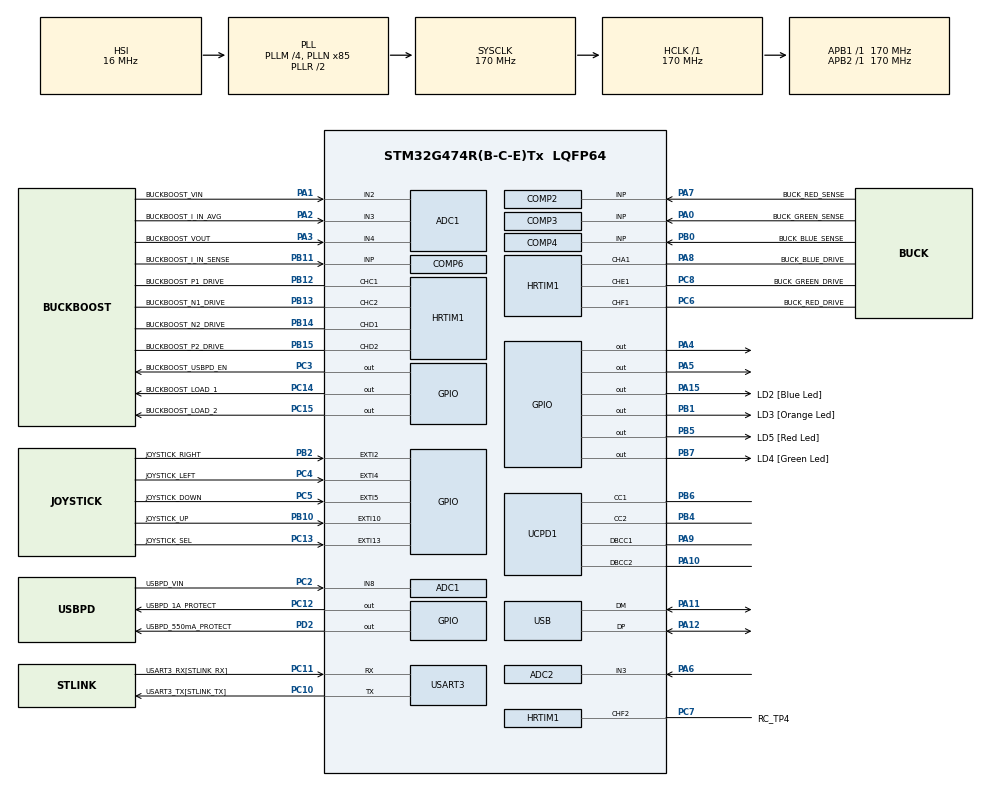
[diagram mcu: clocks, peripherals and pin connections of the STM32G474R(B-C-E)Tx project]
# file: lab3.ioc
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ADC1.Channel-0\#ChannelRegularConversion=ADC_CHANNEL_8
ADC1.NbrOfConversionFlag=1
ADC1.OffsetNumber-0\#ChannelRegularConversion=ADC_OFFSET_NONE
ADC1.Rank-0\#ChannelRegularConversion=1
ADC1.SamplingTime-0\#ChannelRegularConversion=ADC_SAMPLETIME_2CYCLES_5
ADC1.master=1
ADC2.Channel-0\#ChannelRegularConversion=ADC_CHANNEL_3
ADC2.NbrOfConversionFlag=1
ADC2.OffsetNumber-0\#ChannelRegularConversion=ADC_OFFSET_NONE
ADC2.Rank-0\#ChannelRegularConversion=1
ADC2.SamplingTime-0\#ChannelRegularConversion=ADC_SAMPLETIME_2CYCLES_5
DAC3.DAC_Channel-DAC_OUT2_Int=DAC_CHANNEL_2
Mcu.Family=STM32G4
Mcu.Name=STM32G474R(B-C-E)Tx
Mcu.Package=LQFP64
NVIC.ADC1_2_IRQn=true\:0\:0\:false\:false\:true\:true\:true\:true
NVIC.EXTI15_10_IRQn=true\:0\:0\:false\:false\:true\:true\:true\:true
NVIC.EXTI2_IRQn=true\:0\:0\:false\:false\:true\:true\:true\:true
NVIC.EXTI4_IRQn=true\:0\:0\:false\:false\:true\:true\:true\:true
NVIC.EXTI9_5_IRQn=true\:0\:0\:false\:false\:true\:true\:true\:true
NVIC.HRTIM1_Master_IRQn=true\:0\:0\:false\:false\:true\:true\:true\:true
NVIC.HRTIM1_TIMF_IRQn=true\:0\:0\:false\:false\:true\:true\:true\:true
NVIC.PriorityGroup=NVIC_PRIORITYGROUP_4
NVIC.USART3_IRQn=true\:0\:0\:false\:false\:true\:true\:true\:true
NVIC.USB_HP_IRQn=true\:0\:0\:false\:false\:true\:true\:true\:true
PA0.GPIO_Label=BUCK_GREEN_SENSE
PA0.Mode=INP
PA0.Signal=COMP3_INP
PA1.GPIO_Label=BUCKBOOST_VIN
PA1.Mode=IN2-Single-Ended
PA1.Signal=ADC1_IN2
PA10.Mode=EnableDeadBattery
PA10.Signal=UCPD1_DBCC2
PA11.Mode=Device
PA11.Signal=USB_DM
PA12.Mode=Device
PA12.Signal=USB_DP
PA13.Mode=Serial_Wire
PA13.Signal=SYS_JTMS-SWDIO
PA14.Mode=Serial_Wire
PA14.Signal=SYS_JTCK-SWCLK
PA15.GPIO_Label=LD2 [Blue Led]
PA15.Signal=GPIO_Output
PA2.GPIO_Label=BUCKBOOST_I_IN_AVG
PA2.Mode=IN3-Single-Ended
PA2.Signal=ADC1_IN3
PA3.GPIO_Label=BUCKBOOST_VOUT
PA3.Mode=IN4-Single-Ended
PA3.Signal=ADC1_IN4
PA4.Signal=GPIO_Output
PA5.Signal=GPIO_Output
PA6.Mode=IN3-Single-Ended
PA6.Signal=ADC2_IN3
PA7.GPIO_Label=BUCK_RED_SENSE
PA7.Mode=INP
PA7.Signal=COMP2_INP
PA8.GPIO_Label=BUCK_BLUE_DRIVE
PA8.Mode=Output_TA1
PA8.Signal=HRTIM1_CHA1
PA9.Mode=EnableDeadBattery
PA9.Signal=UCPD1_DBCC1
PB0.GPIO_Label=BUCK_BLUE_SENSE
PB0.Mode=INP
PB0.Signal=COMP4_INP
PB1.GPIO_Label=LD3 [Orange Led]
PB1.Signal=GPIO_Output
PB10.GPIO_Label=JOYSTICK_UP
PB10.GPIO_PuPd=GPIO_PULLUP
PB10.Signal=GPXTI10
PB11.GPIO_Label=BUCKBOOST_I_IN_SENSE
PB11.Mode=INP
PB11.Signal=COMP6_INP
PB12.GPIO_Label=BUCKBOOST_P1_DRIVE
PB12.Mode=Output_TC1TC2
PB12.Signal=HRTIM1_CHC1
PB13.GPIO_Label=BUCKBOOST_N1_DRIVE
PB13.Mode=Output_TC1TC2
PB13.Signal=HRTIM1_CHC2
PB14.GPIO_Label=BUCKBOOST_N2_DRIVE
PB14.Mode=Output_TD1TD2
PB14.Signal=HRTIM1_CHD1
PB15.GPIO_Label=BUCKBOOST_P2_DRIVE
PB15.Mode=Output_TD1TD2
PB15.Signal=HRTIM1_CHD2
PB2.GPIO_Label=JOYSTICK_RIGHT
PB2.GPIO_PuPd=GPIO_PULLUP
PB2.Signal=GPXTI2
PB3.Signal=SYS_JTDO-SWO
PB4.Mode=Sink_AllSignals
PB4.Signal=UCPD1_CC2
PB5.GPIO_Label=LD5 [Red Led]
PB5.Signal=GPIO_Output
PB6.Mode=Sink_AllSignals
PB6.Signal=UCPD1_CC1
PB7.GPIO_Label=LD4 [Green Led]
PB7.Signal=GPIO_Output
PC10.GPIO_Label=USART3_TX[STLINK_TX]
PC10.GPIO_Speed=GPIO_SPEED_FREQ_MEDIUM
PC10.Mode=Asynchronous
PC10.Signal=USART3_TX
PC11.GPIO_Label=USART3_RX[STLINK_RX]
PC11.GPIO_Speed=GPIO_SPEED_FREQ_MEDIUM
PC11.Mode=Asynchronous
PC11.Signal=USART3_RX
PC12.GPIO_Label=USBPD_1A_PROTECT
PC12.Signal=GPIO_Output
PC13.GPIO_Label=JOYSTICK_SEL
PC13.GPIO_PuPd=GPIO_PULLUP
PC13.Signal=GPXTI13
PC14-OSC32_IN.GPIO_Label=BUCKBOOST_LOAD_1
PC14-OSC32_IN.Signal=GPIO_Output
PC15-OSC32_OUT.GPIO_Label=BUCKBOOST_LOAD_2
PC15-OSC32_OUT.Signal=GPIO_Output
PC2.GPIO_Label=USBPD_VIN
PC2.Mode=IN8-Single-Ended
PC2.Signal=ADC1_IN8
PC3.GPIO_Label=BUCKBOOST_USBPD_EN
PC3.Signal=GPIO_Output
PC4.GPIO_Label=JOYSTICK_LEFT
PC4.GPIO_PuPd=GPIO_PULLUP
PC4.Signal=GPXTI4
PC5.GPIO_Label=JOYSTICK_DOWN
PC5.GPIO_PuPd=GPIO_PULLUP
PC5.Signal=GPXTI5
PC6.GPIO_Label=BUCK_RED_DRIVE
PC6.Mode=Output_TF1TF2
PC6.Signal=HRTIM1_CHF1
PC7.GPIO_Label=RC_TP4
PC7.Mode=Output_TF1TF2
PC7.Signal=HRTIM1_CHF2
PC8.GPIO_Label=BUCK_GREEN_DRIVE
PC8.Mode=Output_TE1
PC8.Signal=HRTIM1_CHE1
PD2.GPIO_Label=USBPD_550mA_PROTECT
PD2.Signal=GPIO_Output
ProjectManager.HeapSize=0x200
ProjectManager.StackSize=0x400
ProjectManager.TargetToolchain=STM32CubeIDE
RCC.ADC12Freq_Value=170000000
RCC.ADC345Freq_Value=170000000
RCC.AHBFreq_Value=170000000
RCC.APB1Freq_Value=170000000
RCC.APB1TimFreq_Value=170000000
RCC.APB2Freq_Value=170000000
RCC.APB2TimFreq_Value=170000000
RCC.CK48CLockSelection=RCC_USBCLKSOURCE_HSI48
RCC.CortexFreq_Value=170000000
RCC.EXTERNAL_CLOCK_VALUE=12288000
RCC.HCLKFreq_Value=170000000
RCC.HSE_VALUE=8000000
RCC.HSI48_VALUE=48000000
RCC.HSI_VALUE=16000000
RCC.LSE_VALUE=32768
RCC.PLLM=RCC_PLLM_DIV4
RCC.PLLN=85
RCC.PLLP=RCC_PLLP_DIV8
RCC.PLLQ=RCC_PLLQ_DIV8
RCC.SYSCLKFreq_VALUE=170000000
RCC.SYSCLKSource=RCC_SYSCLKSOURCE_PLLCLK
RCC.USBFreq_Value=48000000
RCC.VCOOutputFreq_Value=340000000
USART3.ClockPrescaler=PRESCALER_DIV4
USART3.VirtualMode-Asynchronous=VM_ASYNC
USART3.WordLength=WORDLENGTH_8B
VP_COMP2_VS_DAC3OUT2.Mode=INM_DAC3OUT2
VP_COMP3_VS_DAC3OUT1.Mode=INM_DAC3OUT1
VP_COMP4_VS_DAC1OUT1.Mode=INM_DAC1OUT1
VP_COMP6_VS_DAC2OUT1.Mode=INM_DAC2OUT1
VP_DAC1_VS_DACI1.Mode=DAC_OUT1_Int
VP_DAC2_VS_DACI1.Mode=DAC_OUT1_Int
VP_DAC3_VS_DACI1.Mode=DAC_OUT1_Int
VP_DAC3_VS_DACI2.Mode=DAC_OUT2_Int
VP_SYS_VS_DBSignals.Mode=DisableDeadBatterySignals
board=B-G474E-DPOW1

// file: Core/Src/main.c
/* USER CODE BEGIN Header */
/**
  ******************************************************************************
  * @file           : main.c
  * @brief          : Main program body
  ******************************************************************************
  * @attention
  *
  * Copyright (c) 2025 STMicroelectronics.
  * All rights reserved.
  *
  * This software is licensed under terms that can be found in the LICENSE file
  * in the root directory of this software component.
  * If no LICENSE file comes with this software, it is provided AS-IS.
  *
  ******************************************************************************
  */
/* USER CODE END Header */
#include "main.h"

/* USER CODE BEGIN PTD */
	char MoveRight=0;
	char MoveLeft=0;
/* USER CODE END PTD */

ADC_HandleTypeDef hadc1;
ADC_HandleTypeDef hadc2;

COMP_HandleTypeDef hcomp2;
COMP_HandleTypeDef hcomp3;
COMP_HandleTypeDef hcomp4;
COMP_HandleTypeDef hcomp6;

DAC_HandleTypeDef hdac1;
DAC_HandleTypeDef hdac2;
DAC_HandleTypeDef hdac3;

HRTIM_HandleTypeDef hhrtim1;

UART_HandleTypeDef huart3;

PCD_HandleTypeDef hpcd_USB_FS;

/* USER CODE BEGIN PV */
int SetPoint=2500;
int dh=50;
/* USER CODE END PV */

void SystemClock_Config(void);
static void MX_GPIO_Init(void);
static void MX_ADC1_Init(void);
static void MX_COMP2_Init(void);
static void MX_COMP3_Init(void);
static void MX_COMP4_Init(void);
static void MX_COMP6_Init(void);
static void MX_DAC1_Init(void);
static void MX_DAC2_Init(void);
static void MX_DAC3_Init(void);
static void MX_HRTIM1_Init(void);
static void MX_UCPD1_Init(void);
static void MX_USART3_UART_Init(void);
static void MX_USB_PCD_Init(void);
static void MX_ADC2_Init(void);

int main(void)
{

  /* MCU Configuration--------------------------------------------------------*/

  /* Reset of all peripherals, Initializes the Flash interface and the Systick. */
  HAL_Init();

  /* Configure the system clock */
  SystemClock_Config();

  /* Initialize all configured peripherals */
  MX_GPIO_Init();
  MX_ADC1_Init();
  MX_COMP2_Init();
  MX_COMP3_Init();
  MX_COMP4_Init();
  MX_COMP6_Init();
  MX_DAC1_Init();
  MX_DAC2_Init();
  MX_DAC3_Init();
  MX_HRTIM1_Init();
  MX_UCPD1_Init();
  MX_USART3_UART_Init();
  MX_USB_PCD_Init();
  MX_ADC2_Init();

  /* Infinite loop */
  /* USER CODE BEGIN WHILE */
   CenterGlass();
  while (1)
  {
	  char L=HAL_GPIO_ReadPin(GPIOC, GPIO_PIN_4);
	  char R=HAL_GPIO_ReadPin(GPIOB, GPIO_PIN_2);

	  	 	  if( L == 0)
	  	 	  {

	  	 		  HAL_GPIO_WritePin(GPIOA,  GPIO_PIN_4,1);
	  	 		HAL_GPIO_WritePin(GPIOA,  GPIO_PIN_5,0);

	  	 	  }
	  	 	  else if (R == 0)
	  	 	  {
	  	 		 HAL_GPIO_WritePin(GPIOA,  GPIO_PIN_4,0);
	  	 		HAL_GPIO_WritePin(GPIOA,  GPIO_PIN_5,1);

	  	 	  }
	  	 	  else
	  	 	  {
	  	 		HAL_GPIO_WritePin(GPIOA,  GPIO_PIN_4,0);
	  	 		HAL_GPIO_WritePin(GPIOA,  GPIO_PIN_5,0);

	  	 	  }

    /* USER CODE END WHILE */

  }
}

void SystemClock_Config(void)
{
  RCC_OscInitTypeDef RCC_OscInitStruct = {0};
  RCC_ClkInitTypeDef RCC_ClkInitStruct = {0};

  /** Configure the main internal regulator output voltage
  */
  HAL_PWREx_ControlVoltageScaling(PWR_REGULATOR_VOLTAGE_SCALE1_BOOST);

  /** Initializes the RCC Oscillators according to the specified parameters
  * in the RCC_OscInitTypeDef structure.
  */
  RCC_OscInitStruct.OscillatorType = RCC_OSCILLATORTYPE_HSI|RCC_OSCILLATORTYPE_HSI48;
  RCC_OscInitStruct.HSIState = RCC_HSI_ON;
  RCC_OscInitStruct.HSICalibrationValue = RCC_HSICALIBRATION_DEFAULT;
  RCC_OscInitStruct.HSI48State = RCC_HSI48_ON;
  RCC_OscInitStruct.PLL.PLLState = RCC_PLL_ON;
  RCC_OscInitStruct.PLL.PLLSource = RCC_PLLSOURCE_HSI;
  RCC_OscInitStruct.PLL.PLLM = RCC_PLLM_DIV4;
  RCC_OscInitStruct.PLL.PLLN = 85;
  RCC_OscInitStruct.PLL.PLLP = RCC_PLLP_DIV8;
  RCC_OscInitStruct.PLL.PLLQ = RCC_PLLQ_DIV8;
  RCC_OscInitStruct.PLL.PLLR = RCC_PLLR_DIV2;
  if (HAL_RCC_OscConfig(&RCC_OscInitStruct) != HAL_OK)
  {
    Error_Handler();
  }

  /** Initializes the CPU, AHB and APB buses clocks
  */
  RCC_ClkInitStruct.ClockType = RCC_CLOCKTYPE_HCLK|RCC_CLOCKTYPE_SYSCLK
                              |RCC_CLOCKTYPE_PCLK1|RCC_CLOCKTYPE_PCLK2;
  RCC_ClkInitStruct.SYSCLKSource = RCC_SYSCLKSOURCE_PLLCLK;
  RCC_ClkInitStruct.AHBCLKDivider = RCC_SYSCLK_DIV1;
  RCC_ClkInitStruct.APB1CLKDivider = RCC_HCLK_DIV1;
  RCC_ClkInitStruct.APB2CLKDivider = RCC_HCLK_DIV1;

  if (HAL_RCC_ClockConfig(&RCC_ClkInitStruct, FLASH_LATENCY_4) != HAL_OK)
  {
    Error_Handler();
  }
}

static void MX_ADC1_Init(void)
{

  ADC_MultiModeTypeDef multimode = {0};
  ADC_ChannelConfTypeDef sConfig = {0};

  /** Common config
  */
  hadc1.Instance = ADC1;
  hadc1.Init.ClockPrescaler = ADC_CLOCK_SYNC_PCLK_DIV4;
  hadc1.Init.Resolution = ADC_RESOLUTION_12B;
  hadc1.Init.DataAlign = ADC_DATAALIGN_RIGHT;
  hadc1.Init.GainCompensation = 0;
  hadc1.Init.ScanConvMode = ADC_SCAN_DISABLE;
  hadc1.Init.EOCSelection = ADC_EOC_SINGLE_CONV;
  hadc1.Init.LowPowerAutoWait = DISABLE;
  hadc1.Init.ContinuousConvMode = DISABLE;
  hadc1.Init.NbrOfConversion = 1;
  hadc1.Init.DiscontinuousConvMode = DISABLE;
  hadc1.Init.ExternalTrigConv = ADC_SOFTWARE_START;
  hadc1.Init.ExternalTrigConvEdge = ADC_EXTERNALTRIGCONVEDGE_NONE;
  hadc1.Init.DMAContinuousRequests = DISABLE;
  hadc1.Init.Overrun = ADC_OVR_DATA_PRESERVED;
  hadc1.Init.OversamplingMode = DISABLE;
  if (HAL_ADC_Init(&hadc1) != HAL_OK)
  {
    Error_Handler();
  }

  /** Configure the ADC multi-mode
  */
  multimode.Mode = ADC_MODE_INDEPENDENT;
  if (HAL_ADCEx_MultiModeConfigChannel(&hadc1, &multimode) != HAL_OK)
  {
    Error_Handler();
  }

  /** Configure Regular Channel
  */
  sConfig.Channel = ADC_CHANNEL_8;
  sConfig.Rank = ADC_REGULAR_RANK_1;
  sConfig.SamplingTime = ADC_SAMPLETIME_2CYCLES_5;
  sConfig.SingleDiff = ADC_SINGLE_ENDED;
  sConfig.OffsetNumber = ADC_OFFSET_NONE;
  sConfig.Offset = 0;
  if (HAL_ADC_ConfigChannel(&hadc1, &sConfig) != HAL_OK)
  {
    Error_Handler();
  }

}

static void MX_ADC2_Init(void)
{

  ADC_ChannelConfTypeDef sConfig = {0};

  /** Common config
  */
  hadc2.Instance = ADC2;
  hadc2.Init.ClockPrescaler = ADC_CLOCK_SYNC_PCLK_DIV4;
  hadc2.Init.Resolution = ADC_RESOLUTION_12B;
  hadc2.Init.DataAlign = ADC_DATAALIGN_RIGHT;
  hadc2.Init.GainCompensation = 0;
  hadc2.Init.ScanConvMode = ADC_SCAN_DISABLE;
  hadc2.Init.EOCSelection = ADC_EOC_SINGLE_CONV;
  hadc2.Init.LowPowerAutoWait = DISABLE;
  hadc2.Init.ContinuousConvMode = DISABLE;
  hadc2.Init.NbrOfConversion = 1;
  hadc2.Init.DiscontinuousConvMode = DISABLE;
  hadc2.Init.ExternalTrigConv = ADC_SOFTWARE_START;
  hadc2.Init.ExternalTrigConvEdge = ADC_EXTERNALTRIGCONVEDGE_NONE;
  hadc2.Init.DMAContinuousRequests = DISABLE;
  hadc2.Init.Overrun = ADC_OVR_DATA_PRESERVED;
  hadc2.Init.OversamplingMode = DISABLE;
  if (HAL_ADC_Init(&hadc2) != HAL_OK)
  {
    Error_Handler();
  }

  /** Configure Regular Channel
  */
  sConfig.Channel = ADC_CHANNEL_3;
  sConfig.Rank = ADC_REGULAR_RANK_1;
  sConfig.SamplingTime = ADC_SAMPLETIME_2CYCLES_5;
  sConfig.SingleDiff = ADC_SINGLE_ENDED;
  sConfig.OffsetNumber = ADC_OFFSET_NONE;
  sConfig.Offset = 0;
  if (HAL_ADC_ConfigChannel(&hadc2, &sConfig) != HAL_OK)
  {
    Error_Handler();
  }

}

static void MX_COMP2_Init(void)
{

  hcomp2.Instance = COMP2;
  hcomp2.Init.InputPlus = COMP_INPUT_PLUS_IO1;
  hcomp2.Init.InputMinus = COMP_INPUT_MINUS_DAC3_CH2;
  hcomp2.Init.OutputPol = COMP_OUTPUTPOL_NONINVERTED;
  hcomp2.Init.Hysteresis = COMP_HYSTERESIS_NONE;
  hcomp2.Init.BlankingSrce = COMP_BLANKINGSRC_NONE;
  hcomp2.Init.TriggerMode = COMP_TRIGGERMODE_NONE;
  if (HAL_COMP_Init(&hcomp2) != HAL_OK)
  {
    Error_Handler();
  }

}

static void MX_COMP3_Init(void)
{

  hcomp3.Instance = COMP3;
  hcomp3.Init.InputPlus = COMP_INPUT_PLUS_IO1;
  hcomp3.Init.InputMinus = COMP_INPUT_MINUS_DAC3_CH1;
  hcomp3.Init.OutputPol = COMP_OUTPUTPOL_NONINVERTED;
  hcomp3.Init.Hysteresis = COMP_HYSTERESIS_NONE;
  hcomp3.Init.BlankingSrce = COMP_BLANKINGSRC_NONE;
  hcomp3.Init.TriggerMode = COMP_TRIGGERMODE_NONE;
  if (HAL_COMP_Init(&hcomp3) != HAL_OK)
  {
    Error_Handler();
  }

}

static void MX_COMP4_Init(void)
{

  hcomp4.Instance = COMP4;
  hcomp4.Init.InputPlus = COMP_INPUT_PLUS_IO1;
  hcomp4.Init.InputMinus = COMP_INPUT_MINUS_DAC1_CH1;
  hcomp4.Init.OutputPol = COMP_OUTPUTPOL_NONINVERTED;
  hcomp4.Init.Hysteresis = COMP_HYSTERESIS_NONE;
  hcomp4.Init.BlankingSrce = COMP_BLANKINGSRC_NONE;
  hcomp4.Init.TriggerMode = COMP_TRIGGERMODE_NONE;
  if (HAL_COMP_Init(&hcomp4) != HAL_OK)
  {
    Error_Handler();
  }

}

static void MX_COMP6_Init(void)
{

  hcomp6.Instance = COMP6;
  hcomp6.Init.InputPlus = COMP_INPUT_PLUS_IO1;
  hcomp6.Init.InputMinus = COMP_INPUT_MINUS_DAC2_CH1;
  hcomp6.Init.OutputPol = COMP_OUTPUTPOL_NONINVERTED;
  hcomp6.Init.Hysteresis = COMP_HYSTERESIS_NONE;
  hcomp6.Init.BlankingSrce = COMP_BLANKINGSRC_NONE;
  hcomp6.Init.TriggerMode = COMP_TRIGGERMODE_NONE;
  if (HAL_COMP_Init(&hcomp6) != HAL_OK)
  {
    Error_Handler();
  }

}

static void MX_DAC1_Init(void)
{

  DAC_ChannelConfTypeDef sConfig = {0};

  /** DAC Initialization
  */
  hdac1.Instance = DAC1;
  if (HAL_DAC_Init(&hdac1) != HAL_OK)
  {
    Error_Handler();
  }

  /** DAC channel OUT1 config
  */
  sConfig.DAC_HighFrequency = DAC_HIGH_FREQUENCY_INTERFACE_MODE_AUTOMATIC;
  sConfig.DAC_DMADoubleDataMode = DISABLE;
  sConfig.DAC_SignedFormat = DISABLE;
  sConfig.DAC_SampleAndHold = DAC_SAMPLEANDHOLD_DISABLE;
  sConfig.DAC_Trigger = DAC_TRIGGER_NONE;
  sConfig.DAC_Trigger2 = DAC_TRIGGER_NONE;
  sConfig.DAC_OutputBuffer = DAC_OUTPUTBUFFER_DISABLE;
  sConfig.DAC_ConnectOnChipPeripheral = DAC_CHIPCONNECT_INTERNAL;
  sConfig.DAC_UserTrimming = DAC_TRIMMING_FACTORY;
  if (HAL_DAC_ConfigChannel(&hdac1, &sConfig, DAC_CHANNEL_1) != HAL_OK)
  {
    Error_Handler();
  }

}

static void MX_DAC2_Init(void)
{

  DAC_ChannelConfTypeDef sConfig = {0};

  /** DAC Initialization
  */
  hdac2.Instance = DAC2;
  if (HAL_DAC_Init(&hdac2) != HAL_OK)
  {
    Error_Handler();
  }

  /** DAC channel OUT1 config
  */
  sConfig.DAC_HighFrequency = DAC_HIGH_FREQUENCY_INTERFACE_MODE_AUTOMATIC;
  sConfig.DAC_DMADoubleDataMode = DISABLE;
  sConfig.DAC_SignedFormat = DISABLE;
  sConfig.DAC_SampleAndHold = DAC_SAMPLEANDHOLD_DISABLE;
  sConfig.DAC_Trigger = DAC_TRIGGER_NONE;
  sConfig.DAC_Trigger2 = DAC_TRIGGER_NONE;
  sConfig.DAC_OutputBuffer = DAC_OUTPUTBUFFER_DISABLE;
  sConfig.DAC_ConnectOnChipPeripheral = DAC_CHIPCONNECT_INTERNAL;
  sConfig.DAC_UserTrimming = DAC_TRIMMING_FACTORY;
  if (HAL_DAC_ConfigChannel(&hdac2, &sConfig, DAC_CHANNEL_1) != HAL_OK)
  {
    Error_Handler();
  }

}

static void MX_DAC3_Init(void)
{

  DAC_ChannelConfTypeDef sConfig = {0};

  /** DAC Initialization
  */
  hdac3.Instance = DAC3;
  if (HAL_DAC_Init(&hdac3) != HAL_OK)
  {
    Error_Handler();
  }

  /** DAC channel OUT1 config
  */
  sConfig.DAC_HighFrequency = DAC_HIGH_FREQUENCY_INTERFACE_MODE_AUTOMATIC;
  sConfig.DAC_DMADoubleDataMode = DISABLE;
  sConfig.DAC_SignedFormat = DISABLE;
  sConfig.DAC_SampleAndHold = DAC_SAMPLEANDHOLD_DISABLE;
  sConfig.DAC_Trigger = DAC_TRIGGER_NONE;
  sConfig.DAC_Trigger2 = DAC_TRIGGER_NONE;
  sConfig.DAC_OutputBuffer = DAC_OUTPUTBUFFER_DISABLE;
  sConfig.DAC_ConnectOnChipPeripheral = DAC_CHIPCONNECT_INTERNAL;
  sConfig.DAC_UserTrimming = DAC_TRIMMING_FACTORY;
  if (HAL_DAC_ConfigChannel(&hdac3, &sConfig, DAC_CHANNEL_1) != HAL_OK)
  {
    Error_Handler();
  }

  /** DAC channel OUT2 config
  */
  if (HAL_DAC_ConfigChannel(&hdac3, &sConfig, DAC_CHANNEL_2) != HAL_OK)
  {
    Error_Handler();
  }

}

static void MX_HRTIM1_Init(void)
{

  HRTIM_TimeBaseCfgTypeDef pTimeBaseCfg = {0};
  HRTIM_TimerCtlTypeDef pTimerCtl = {0};
  HRTIM_TimerCfgTypeDef pTimerCfg = {0};
  HRTIM_OutputCfgTypeDef pOutputCfg = {0};

  hhrtim1.Instance = HRTIM1;
  hhrtim1.Init.HRTIMInterruptResquests = HRTIM_IT_NONE;
  hhrtim1.Init.SyncOptions = HRTIM_SYNCOPTION_NONE;
  if (HAL_HRTIM_Init(&hhrtim1) != HAL_OK)
  {
    Error_Handler();
  }
  if (HAL_HRTIM_DLLCalibrationStart(&hhrtim1, HRTIM_CALIBRATIONRATE_3) != HAL_OK)
  {
    Error_Handler();
  }
  if (HAL_HRTIM_PollForDLLCalibration(&hhrtim1, 10) != HAL_OK)
  {
    Error_Handler();
  }
  pTimeBaseCfg.Period = 0xFFDF;
  pTimeBaseCfg.RepetitionCounter = 0x00;
  pTimeBaseCfg.PrescalerRatio = HRTIM_PRESCALERRATIO_MUL32;
  pTimeBaseCfg.Mode = HRTIM_MODE_CONTINUOUS;
  if (HAL_HRTIM_TimeBaseConfig(&hhrtim1, HRTIM_TIMERINDEX_TIMER_A, &pTimeBaseCfg) != HAL_OK)
  {
    Error_Handler();
  }
  pTimerCtl.UpDownMode = HRTIM_TIMERUPDOWNMODE_UP;
  pTimerCtl.DualChannelDacEnable = HRTIM_TIMER_DCDE_DISABLED;
  if (HAL_HRTIM_WaveformTimerControl(&hhrtim1, HRTIM_TIMERINDEX_TIMER_A, &pTimerCtl) != HAL_OK)
  {
    Error_Handler();
  }
  pTimerCfg.InterruptRequests = HRTIM_TIM_IT_NONE;
  pTimerCfg.DMARequests = HRTIM_TIM_DMA_NONE;
  pTimerCfg.DMASrcAddress = 0x0000;
  pTimerCfg.DMADstAddress = 0x0000;
  pTimerCfg.DMASize = 0x1;
  pTimerCfg.HalfModeEnable = HRTIM_HALFMODE_DISABLED;
  pTimerCfg.InterleavedMode = HRTIM_INTERLEAVED_MODE_DISABLED;
  pTimerCfg.StartOnSync = HRTIM_SYNCSTART_DISABLED;
  pTimerCfg.ResetOnSync = HRTIM_SYNCRESET_DISABLED;
  pTimerCfg.DACSynchro = HRTIM_DACSYNC_NONE;
  pTimerCfg.PreloadEnable = HRTIM_PRELOAD_DISABLED;
  pTimerCfg.UpdateGating = HRTIM_UPDATEGATING_INDEPENDENT;
  pTimerCfg.BurstMode = HRTIM_TIMERBURSTMODE_MAINTAINCLOCK;
  pTimerCfg.RepetitionUpdate = HRTIM_UPDATEONREPETITION_DISABLED;
  pTimerCfg.PushPull = HRTIM_TIMPUSHPULLMODE_DISABLED;
  pTimerCfg.FaultEnable = HRTIM_TIMFAULTENABLE_NONE;
  pTimerCfg.FaultLock = HRTIM_TIMFAULTLOCK_READWRITE;
  pTimerCfg.DeadTimeInsertion = HRTIM_TIMDEADTIMEINSERTION_DISABLED;
  pTimerCfg.DelayedProtectionMode = HRTIM_TIMER_A_B_C_DELAYEDPROTECTION_DISABLED;
  pTimerCfg.UpdateTrigger = HRTIM_TIMUPDATETRIGGER_NONE;
  pTimerCfg.ResetTrigger = HRTIM_TIMRESETTRIGGER_NONE;
  pTimerCfg.ResetUpdate = HRTIM_TIMUPDATEONRESET_DISABLED;
  pTimerCfg.ReSyncUpdate = HRTIM_TIMERESYNC_UPDATE_UNCONDITIONAL;
  if (HAL_HRTIM_WaveformTimerConfig(&hhrtim1, HRTIM_TIMERINDEX_TIMER_A, &pTimerCfg) != HAL_OK)
  {
    Error_Handler();
  }
  if (HAL_HRTIM_WaveformTimerConfig(&hhrtim1, HRTIM_TIMERINDEX_TIMER_C, &pTimerCfg) != HAL_OK)
  {
    Error_Handler();
  }
  pTimerCfg.DelayedProtectionMode = HRTIM_TIMER_D_E_DELAYEDPROTECTION_DISABLED;
  if (HAL_HRTIM_WaveformTimerConfig(&hhrtim1, HRTIM_TIMERINDEX_TIMER_D, &pTimerCfg) != HAL_OK)
  {
    Error_Handler();
  }
  if (HAL_HRTIM_WaveformTimerConfig(&hhrtim1, HRTIM_TIMERINDEX_TIMER_E, &pTimerCfg) != HAL_OK)
  {
    Error_Handler();
  }
  pTimerCfg.DelayedProtectionMode = HRTIM_TIMER_F_DELAYEDPROTECTION_DISABLED;
  if (HAL_HRTIM_WaveformTimerConfig(&hhrtim1, HRTIM_TIMERINDEX_TIMER_F, &pTimerCfg) != HAL_OK)
  {
    Error_Handler();
  }
  pOutputCfg.Polarity = HRTIM_OUTPUTPOLARITY_HIGH;
  pOutputCfg.SetSource = HRTIM_OUTPUTSET_NONE;
  pOutputCfg.ResetSource = HRTIM_OUTPUTRESET_NONE;
  pOutputCfg.IdleMode = HRTIM_OUTPUTIDLEMODE_NONE;
  pOutputCfg.IdleLevel = HRTIM_OUTPUTIDLELEVEL_INACTIVE;
  pOutputCfg.FaultLevel = HRTIM_OUTPUTFAULTLEVEL_NONE;
  pOutputCfg.ChopperModeEnable = HRTIM_OUTPUTCHOPPERMODE_DISABLED;
  pOutputCfg.BurstModeEntryDelayed = HRTIM_OUTPUTBURSTMODEENTRY_REGULAR;
  if (HAL_HRTIM_WaveformOutputConfig(&hhrtim1, HRTIM_TIMERINDEX_TIMER_A, HRTIM_OUTPUT_TA1, &pOutputCfg) != HAL_OK)
  {
    Error_Handler();
  }
  if (HAL_HRTIM_WaveformOutputConfig(&hhrtim1, HRTIM_TIMERINDEX_TIMER_C, HRTIM_OUTPUT_TC1, &pOutputCfg) != HAL_OK)
  {
    Error_Handler();
  }
  if (HAL_HRTIM_WaveformOutputConfig(&hhrtim1, HRTIM_TIMERINDEX_TIMER_D, HRTIM_OUTPUT_TD1, &pOutputCfg) != HAL_OK)
  {
    Error_Handler();
  }
  if (HAL_HRTIM_WaveformOutputConfig(&hhrtim1, HRTIM_TIMERINDEX_TIMER_E, HRTIM_OUTPUT_TE1, &pOutputCfg) != HAL_OK)
  {
    Error_Handler();
  }
  if (HAL_HRTIM_WaveformOutputConfig(&hhrtim1, HRTIM_TIMERINDEX_TIMER_F, HRTIM_OUTPUT_TF1, &pOutputCfg) != HAL_OK)
  {
    Error_Handler();
  }
  if (HAL_HRTIM_TimeBaseConfig(&hhrtim1, HRTIM_TIMERINDEX_TIMER_C, &pTimeBaseCfg) != HAL_OK)
  {
    Error_Handler();
  }
  if (HAL_HRTIM_WaveformTimerControl(&hhrtim1, HRTIM_TIMERINDEX_TIMER_C, &pTimerCtl) != HAL_OK)
  {
    Error_Handler();
  }
  if (HAL_HRTIM_WaveformOutputConfig(&hhrtim1, HRTIM_TIMERINDEX_TIMER_C, HRTIM_OUTPUT_TC2, &pOutputCfg) != HAL_OK)
  {
    Error_Handler();
  }
  if (HAL_HRTIM_WaveformOutputConfig(&hhrtim1, HRTIM_TIMERINDEX_TIMER_D, HRTIM_OUTPUT_TD2, &pOutputCfg) != HAL_OK)
  {
    Error_Handler();
  }
  if (HAL_HRTIM_WaveformOutputConfig(&hhrtim1, HRTIM_TIMERINDEX_TIMER_F, HRTIM_OUTPUT_TF2, &pOutputCfg) != HAL_OK)
  {
    Error_Handler();
  }
  if (HAL_HRTIM_TimeBaseConfig(&hhrtim1, HRTIM_TIMERINDEX_TIMER_D, &pTimeBaseCfg) != HAL_OK)
  {
    Error_Handler();
  }
  if (HAL_HRTIM_WaveformTimerControl(&hhrtim1, HRTIM_TIMERINDEX_TIMER_D, &pTimerCtl) != HAL_OK)
  {
    Error_Handler();
  }
  if (HAL_HRTIM_TimeBaseConfig(&hhrtim1, HRTIM_TIMERINDEX_TIMER_E, &pTimeBaseCfg) != HAL_OK)
  {
    Error_Handler();
  }
  if (HAL_HRTIM_WaveformTimerControl(&hhrtim1, HRTIM_TIMERINDEX_TIMER_E, &pTimerCtl) != HAL_OK)
  {
    Error_Handler();
  }
  if (HAL_HRTIM_TimeBaseConfig(&hhrtim1, HRTIM_TIMERINDEX_TIMER_F, &pTimeBaseCfg) != HAL_OK)
  {
    Error_Handler();
  }
  if (HAL_HRTIM_WaveformTimerControl(&hhrtim1, HRTIM_TIMERINDEX_TIMER_F, &pTimerCtl) != HAL_OK)
  {
    Error_Handler();
  }
  HAL_HRTIM_MspPostInit(&hhrtim1);

}

static void MX_UCPD1_Init(void)
{

  LL_GPIO_InitTypeDef GPIO_InitStruct = {0};

  /* Peripheral clock enable */
  LL_APB1_GRP2_EnableClock(LL_APB1_GRP2_PERIPH_UCPD1);

  LL_AHB2_GRP1_EnableClock(LL_AHB2_GRP1_PERIPH_GPIOB);
  /**UCPD1 GPIO Configuration
  PB4   ------> UCPD1_CC2
  PB6   ------> UCPD1_CC1
  */
  GPIO_InitStruct.Pin = LL_GPIO_PIN_4;
  GPIO_InitStruct.Mode = LL_GPIO_MODE_ANALOG;
  GPIO_InitStruct.Pull = LL_GPIO_PULL_NO;
  LL_GPIO_Init(GPIOB, &GPIO_InitStruct);

  GPIO_InitStruct.Pin = LL_GPIO_PIN_6;
  GPIO_InitStruct.Mode = LL_GPIO_MODE_ANALOG;
  GPIO_InitStruct.Pull = LL_GPIO_PULL_NO;
  LL_GPIO_Init(GPIOB, &GPIO_InitStruct);

}

static void MX_USART3_UART_Init(void)
{

  huart3.Instance = USART3;
  huart3.Init.BaudRate = 115200;
  huart3.Init.WordLength = UART_WORDLENGTH_8B;
  huart3.Init.StopBits = UART_STOPBITS_1;
  huart3.Init.Parity = UART_PARITY_NONE;
  huart3.Init.Mode = UART_MODE_TX_RX;
  huart3.Init.HwFlowCtl = UART_HWCONTROL_NONE;
  huart3.Init.OverSampling = UART_OVERSAMPLING_16;
  huart3.Init.OneBitSampling = UART_ONE_BIT_SAMPLE_DISABLE;
  huart3.Init.ClockPrescaler = UART_PRESCALER_DIV4;
  huart3.AdvancedInit.AdvFeatureInit = UART_ADVFEATURE_NO_INIT;
  if (HAL_UART_Init(&huart3) != HAL_OK)
  {
    Error_Handler();
  }
  if (HAL_UARTEx_SetTxFifoThreshold(&huart3, UART_TXFIFO_THRESHOLD_1_8) != HAL_OK)
  {
    Error_Handler();
  }
  if (HAL_UARTEx_SetRxFifoThreshold(&huart3, UART_RXFIFO_THRESHOLD_1_8) != HAL_OK)
  {
    Error_Handler();
  }
  if (HAL_UARTEx_DisableFifoMode(&huart3) != HAL_OK)
  {
    Error_Handler();
  }

}

static void MX_USB_PCD_Init(void)
{

  hpcd_USB_FS.Instance = USB;
  hpcd_USB_FS.Init.dev_endpoints = 8;
  hpcd_USB_FS.Init.speed = PCD_SPEED_FULL;
  hpcd_USB_FS.Init.phy_itface = PCD_PHY_EMBEDDED;
  hpcd_USB_FS.Init.Sof_enable = DISABLE;
  hpcd_USB_FS.Init.low_power_enable = DISABLE;
  hpcd_USB_FS.Init.lpm_enable = DISABLE;
  hpcd_USB_FS.Init.battery_charging_enable = DISABLE;
  if (HAL_PCD_Init(&hpcd_USB_FS) != HAL_OK)
  {
    Error_Handler();
  }

}

static void MX_GPIO_Init(void)
{
  GPIO_InitTypeDef GPIO_InitStruct = {0};

  /* GPIO Ports Clock Enable */
  __HAL_RCC_GPIOC_CLK_ENABLE();
  __HAL_RCC_GPIOA_CLK_ENABLE();
  __HAL_RCC_GPIOB_CLK_ENABLE();
  __HAL_RCC_GPIOD_CLK_ENABLE();

  /*Configure GPIO pin Output Level */
  HAL_GPIO_WritePin(GPIOC, BUCKBOOST_LOAD_1_Pin|BUCKBOOST_LOAD_2_Pin|BUCKBOOST_USBPD_EN_Pin|USBPD_1A_PROTECT_Pin, GPIO_PIN_RESET);

  /*Configure GPIO pin Output Level */
  HAL_GPIO_WritePin(GPIOA, GPIO_PIN_4|GPIO_PIN_5|LD2_Pin, GPIO_PIN_RESET);

  /*Configure GPIO pin Output Level */
  HAL_GPIO_WritePin(GPIOB, LD3_Pin|LD5_Pin|LD4_Pin, GPIO_PIN_RESET);

  /*Configure GPIO pin Output Level */
  HAL_GPIO_WritePin(USBPD_550mA_PROTECT_GPIO_Port, USBPD_550mA_PROTECT_Pin, GPIO_PIN_RESET);

  /*Configure GPIO pins : JOYSTICK_SEL_Pin JOYSTICK_LEFT_Pin JOYSTICK_DOWN_Pin */
  GPIO_InitStruct.Pin = JOYSTICK_SEL_Pin|JOYSTICK_LEFT_Pin|JOYSTICK_DOWN_Pin;
  GPIO_InitStruct.Mode = GPIO_MODE_IT_RISING;
  GPIO_InitStruct.Pull = GPIO_PULLUP;
  HAL_GPIO_Init(GPIOC, &GPIO_InitStruct);

  /*Configure GPIO pins : BUCKBOOST_LOAD_1_Pin BUCKBOOST_LOAD_2_Pin BUCKBOOST_USBPD_EN_Pin USBPD_1A_PROTECT_Pin */
  GPIO_InitStruct.Pin = BUCKBOOST_LOAD_1_Pin|BUCKBOOST_LOAD_2_Pin|BUCKBOOST_USBPD_EN_Pin|USBPD_1A_PROTECT_Pin;
  GPIO_InitStruct.Mode = GPIO_MODE_OUTPUT_PP;
  GPIO_InitStruct.Pull = GPIO_NOPULL;
  GPIO_InitStruct.Speed = GPIO_SPEED_FREQ_LOW;
  HAL_GPIO_Init(GPIOC, &GPIO_InitStruct);

  /*Configure GPIO pins : PA4 PA5 LD2_Pin */
  GPIO_InitStruct.Pin = GPIO_PIN_4|GPIO_PIN_5|LD2_Pin;
  GPIO_InitStruct.Mode = GPIO_MODE_OUTPUT_PP;
  GPIO_InitStruct.Pull = GPIO_NOPULL;
  GPIO_InitStruct.Speed = GPIO_SPEED_FREQ_LOW;
  HAL_GPIO_Init(GPIOA, &GPIO_InitStruct);

  /*Configure GPIO pins : LD3_Pin LD5_Pin LD4_Pin */
  GPIO_InitStruct.Pin = LD3_Pin|LD5_Pin|LD4_Pin;
  GPIO_InitStruct.Mode = GPIO_MODE_OUTPUT_PP;
  GPIO_InitStruct.Pull = GPIO_NOPULL;
  GPIO_InitStruct.Speed = GPIO_SPEED_FREQ_LOW;
  HAL_GPIO_Init(GPIOB, &GPIO_InitStruct);

  /*Configure GPIO pins : JOYSTICK_RIGHT_Pin JOYSTICK_UP_Pin */
  GPIO_InitStruct.Pin = JOYSTICK_RIGHT_Pin|JOYSTICK_UP_Pin;
  GPIO_InitStruct.Mode = GPIO_MODE_IT_RISING;
  GPIO_InitStruct.Pull = GPIO_PULLUP;
  HAL_GPIO_Init(GPIOB, &GPIO_InitStruct);

  /*Configure GPIO pin : USBPD_550mA_PROTECT_Pin */
  GPIO_InitStruct.Pin = USBPD_550mA_PROTECT_Pin;
  GPIO_InitStruct.Mode = GPIO_MODE_OUTPUT_PP;
  GPIO_InitStruct.Pull = GPIO_NOPULL;
  GPIO_InitStruct.Speed = GPIO_SPEED_FREQ_LOW;
  HAL_GPIO_Init(USBPD_550mA_PROTECT_GPIO_Port, &GPIO_InitStruct);

  /* EXTI interrupt init*/
  HAL_NVIC_SetPriority(EXTI2_IRQn, 0, 0);
  HAL_NVIC_EnableIRQ(EXTI2_IRQn);

  HAL_NVIC_SetPriority(EXTI4_IRQn, 0, 0);
  HAL_NVIC_EnableIRQ(EXTI4_IRQn);

  HAL_NVIC_SetPriority(EXTI9_5_IRQn, 0, 0);
  HAL_NVIC_EnableIRQ(EXTI9_5_IRQn);

  HAL_NVIC_SetPriority(EXTI15_10_IRQn, 0, 0);
  HAL_NVIC_EnableIRQ(EXTI15_10_IRQn);

}

/* USER CODE BEGIN 4 */
void CenterGlass(void)
{
 int centering=1;
  HAL_ADC_Start(&hadc2);
  int value=0;
  while(!HAL_ADC_PollForConversion(&hadc2, 2))
  {

  }
	value= HAL_ADC_GetValue(&hadc2);
	while (centering !=0)
	{
	 if(HAL_ADC_PollForConversion(&hadc2, 2))
	     {
	    	value= HAL_ADC_GetValue(&hadc2);
		    HAL_ADC_Start(&hadc2);
	     }
	     if(MoveRight && value>SetPoint )
	     {
	    	 MoveRight=0;
	    	 MoveLeft=0;
	     }
	     else if(MoveLeft && value<SetPoint)
	     {
	    	 MoveRight=0;
	    	 MoveLeft=0;
	     }
	     else if(MoveRight==0 && MoveLeft==0)
	     {
	    	 if(value<(SetPoint-dh))
	    	  {
	    		 	 MoveLeft=0;
	    	     	MoveRight=1;
	    	     	centering=1;
	    	  }
	    	 else if(value>SetPoint+dh)
	    	{
	    		 MoveLeft=1;
	    		 MoveRight=0;
	    		 centering=1;
	    	}
	     }
		  	 	  if( MoveRight)// L == 1 || MoveLeft)
		  	 	  {

		  	 		  HAL_GPIO_WritePin(GPIOA,  GPIO_PIN_4,1);
		  	 		HAL_GPIO_WritePin(GPIOA,  GPIO_PIN_5,0);

		  	 	  }
		  	 	  else if ( MoveLeft) //R == 1 || MoveRight)
		  	 	  {
		  	 		 HAL_GPIO_WritePin(GPIOA,  GPIO_PIN_4,0);
		  	 		HAL_GPIO_WritePin(GPIOA,  GPIO_PIN_5,1);

		  	 	  }
		  	 	  else
		  	 	  {
		  	 		HAL_GPIO_WritePin(GPIOA,  GPIO_PIN_4,0);
		  	 		HAL_GPIO_WritePin(GPIOA,  GPIO_PIN_5,0);
		  	 		centering=0;

		  	 	  }
	}
}
/* USER CODE END 4 */

void Error_Handler(void)
{
  __disable_irq();
  while (1)
  {
  }
}
